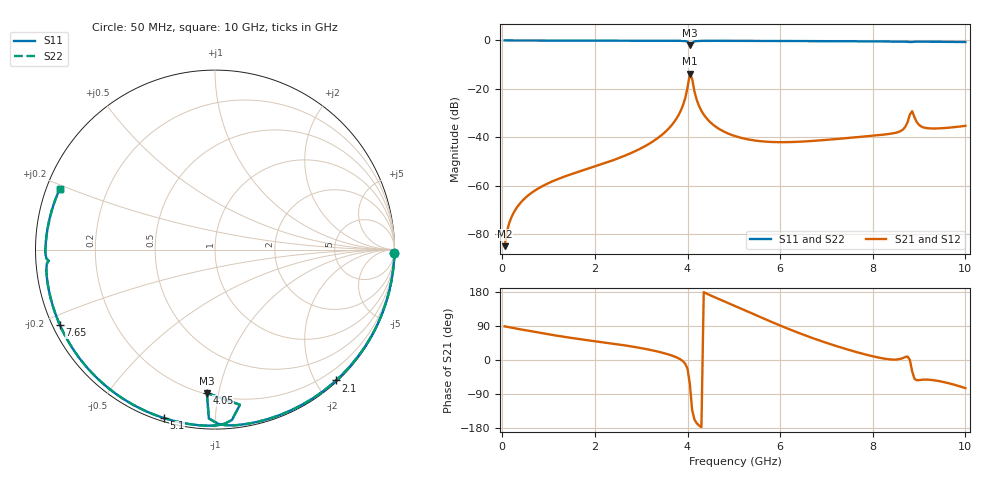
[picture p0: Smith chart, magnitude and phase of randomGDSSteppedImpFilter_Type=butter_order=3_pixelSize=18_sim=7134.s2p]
! freq	dB(S11)	phase(S11)	dB(S12)	phase(S12)
!  dB(S21)	phase(S21)	dB(S22)	phase(S22)
!S-par simulation data
#  GHz  S  DB  R 50
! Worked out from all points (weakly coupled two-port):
!   200 points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, 50 MHz to 10 GHz, reference 50 ohm
!   highest |S21| = -13.71 dB at 4.05 GHz (marker M1); lowest = -84.8 dB at 50 MHz (marker M2)
!   lowest |S11| = -1.9 dB at 4.05 GHz (marker M3), VSWR 8.99, Z = 10.4 - j46.1 ohm
!   |S11| at or under -10 dB: nowhere
!   |S22| runs from -1.9 to 0.0 dB; largest |S21 - S12| = 0
!   S11 on the Smith chart (normalised r, x): 50 MHz: 0, -99; 2.1 GHz: 0.02, -2.29; 4.05 GHz: 0.21, -0.92; 5.1 GHz: 0.02, -0.74; 7.65 GHz: 0.02, -0.23; 10 GHz: 0.04, +0.19
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0.05  -0.00 -1.2  -84.82 88.8  -84.82 88.8  -0.00 -1.2
0.25  -0.01 -5.8  -70.86 84.1  -70.86 84.1  -0.01 -5.8
0.55  -0.02 -12.6  -64.03 77.5  -64.03 77.5  -0.02 -12.6
1.75  -0.05 -39.6  -53.49 53.7  -53.49 53.7  -0.05 -39.6
2.1  -0.06 -47.2  -51.32 47.9  -51.32 47.9  -0.06 -47.2
3.4  -0.10 -74.9  -39.63 20.9  -39.63 20.9  -0.10 -74.9
3.85  -0.15 -85.4  -29.11 1.4  -29.11 1.4  -0.15 -85.4
3.95  -0.26 -89.0  -23.78 -9.8  -23.78 -9.8  -0.26 -89.0
4.05  -1.94 -93.3  -13.71 -63.3  -13.71 -63.3  -1.94 -93.3
4.1  -1.15 -80.9  -15.85 -132.6  -15.85 -132.6  -1.15 -80.9
4.2  -0.25 -86.8  -24.59 -167.1  -24.59 -167.1  -0.25 -86.8
4.35  -0.16 -91.4  -30.56 179.2  -30.56 179.2  -0.16 -91.4
5.05  -0.17 -105.9  -39.57 141.3  -39.57 141.3  -0.17 -105.9
5.1  -0.17 -106.8  -39.87 138.6  -39.87 138.6  -0.17 -106.8
6.7  -0.27 -136.6  -41.43 57.9  -41.43 57.9  -0.27 -136.6
7.65  -0.35 -154.0  -39.90 20.9  -39.90 20.9  -0.35 -154.0
8.35  -0.43 -167.3  -38.55 1.9  -38.55 1.9  -0.43 -167.3
8.65  -0.48 -173.2  -36.77 5.1  -36.77 5.1  -0.48 -173.2
8.85  -0.64 -176.1  -29.17 -29.6  -29.17 -29.6  -0.64 -176.1
8.95  -0.50 -178.3  -33.68 -53.4  -33.68 -53.4  -0.50 -178.2
9.1  -0.50 178.4  -35.89 -51.8  -35.89 -51.8  -0.50 178.4
10  -0.64 158.8  -35.20 -74.3  -35.20 -74.3  -0.64 158.8
